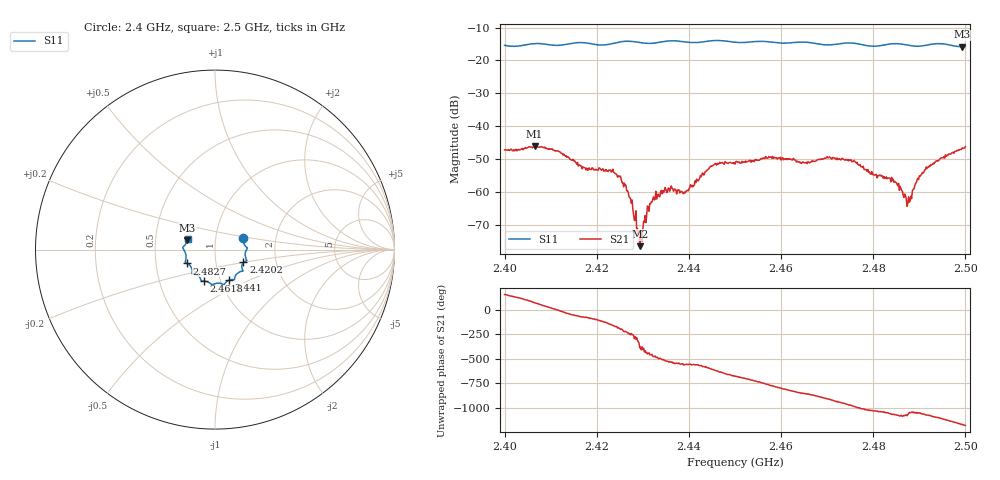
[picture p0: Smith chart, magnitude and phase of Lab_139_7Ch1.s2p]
# Hz S RI R 50
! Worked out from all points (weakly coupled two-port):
!   601 points, 2.4 GHz to 2.5 GHz, reference 50 ohm
!   highest |S21| = -46.15 dB at 2.4065 GHz (marker M1); lowest = -76.5 dB at 2.4293 GHz (marker M2)
!   lowest |S11| = -15.8 dB at 2.4993 GHz (marker M3), VSWR 1.39, Z = 36.5 + j3.86 ohm
!   |S11| at or under -10 dB: start of sweep to end of sweep
!   S12 and S22 are empty: the file has one direction only
!   S11 on the Smith chart (normalised r, x): 2.4 GHz: 1.36, +0.18; 2.4202 GHz: 1.36, -0.20; 2.441 GHz: 1.10, -0.39; 2.4618 GHz: 0.84, -0.30; 2.4827 GHz: 0.72, -0.11; 2.5 GHz: 0.73, +0.09
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2.4e9  0.1581 0.0624  -0.00382 0.00206  0 0  0 0
2.4065e9  0.1803 0.0104  0.0018 0.00459  0 0  0 0
2.416667e9  0.1772 -0.0609  0.000655 -0.00237  0 0  0 0
2.420167e9  0.1581 -0.0712  -0.000577 -0.00205  0 0  0 0
2.425167e9  0.1545 -0.1146  -0.0016 0.000614  0 0  0 0
2.427167e9  0.1556 -0.1191  -0.00035 0.000742  0 0  0 0
2.429333e9  0.1429 -0.1221  0.000131 -7.14e-05  0 0  0 0
2.4315e9  0.1222 -0.1347  -0.000119 -0.000651  0 0  0 0
2.433333e9  0.1114 -0.1512  -0.000647 -0.000664  0 0  0 0
2.441e9  0.0785 -0.1697  -0.00118 0.000345  0 0  0 0
2.445333e9  0.0515 -0.1941  -0.000833 0.00241  0 0  0 0
2.45e9  0.0282 -0.1877  0.00188 0.00185  0 0  0 0
2.461833e9  -0.0595 -0.1758  -0.000584 -0.00308  0 0  0 0
2.466667e9  -0.0789 -0.1682  -0.00248 -0.00162  0 0  0 0
2.474667e9  -0.1271 -0.1345  -0.00117 0.00272  0 0  0 0
2.482667e9  -0.1563 -0.0771  0.00137 0.000876  0 0  0 0
2.483333e9  -0.1604 -0.075  0.00142 0.000789  0 0  0 0
2.487833e9  -0.1617 -0.0518  0.000567 0.000403  0 0  0 0
2.4895e9  -0.162 -0.0302  0.00132 0.000709  0 0  0 0
2.491667e9  -0.1715 -0.00465  0.00223 0.000374  0 0  0 0
2.499333e9  -0.1537 0.0514  0.000188 -0.00466  0 0  0 0
2.5e9  -0.1518 0.0609  -0.000474 -0.00485  0 0  0 0
